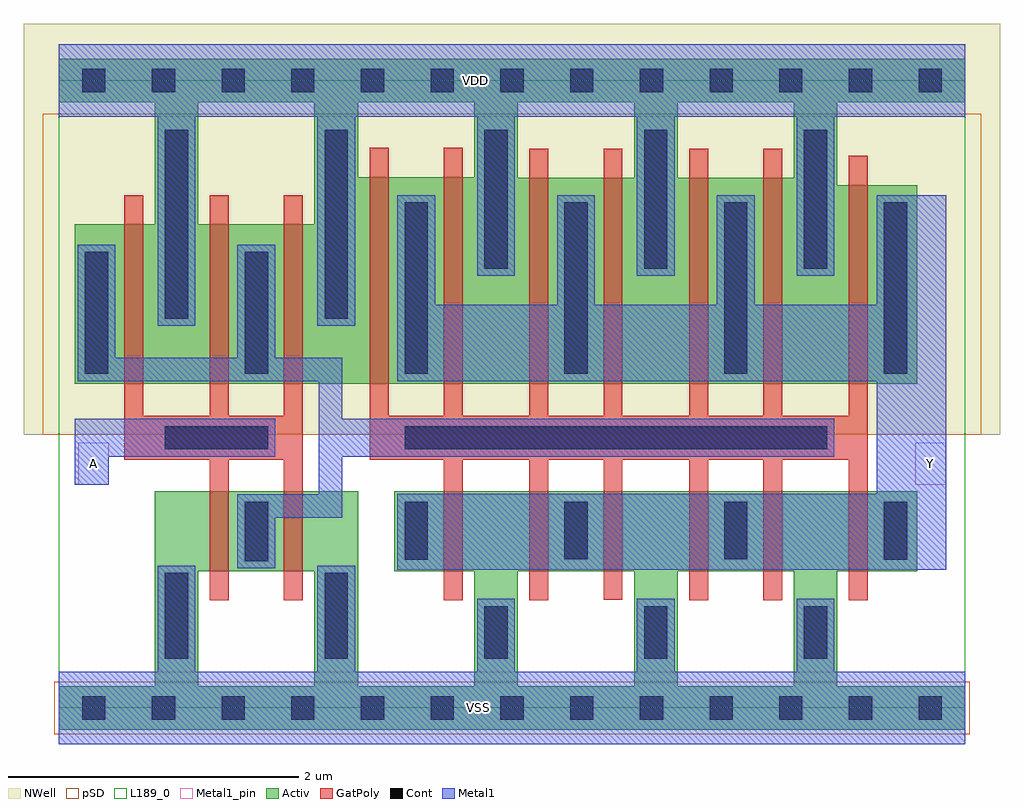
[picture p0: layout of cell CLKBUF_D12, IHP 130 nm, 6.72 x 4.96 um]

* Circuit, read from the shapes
.subckt CLKBUF_D12 A VDD VSS Y
XM1 n1 A VSS VSS sg13_lv_nmos w=0.55u l=0.13u m=2
XM2 VSS n1 Y VSS sg13_lv_nmos w=0.55u l=0.13u m=6
XM3 VDD A n1 VDD sg13_lv_pmos w=1.1u l=0.13u m=3
XM4 Y n1 VDD VDD sg13_lv_pmos w=1.425u l=0.13u m=2
XM5 Y n1 VDD VDD sg13_lv_pmos w=1.42u l=0.13u m=4
XM6 Y n1 VDD VDD sg13_lv_pmos w=1.37u l=0.13u
.ends

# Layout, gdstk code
import gdstk
lib = gdstk.Library(unit=1e-6, precision=1e-09)
def R(c, l, rs):  # rectangles x0, y0, x1, y1
    for r in rs: c.add(gdstk.rectangle(r[:2], r[2:], *l))
def A(c, l, x, y, w, h, nx, ny, dx, dy):  # array of equal rectangles
    R(c, l, [(x+i*dx, y+j*dy, x+i*dx+w, y+j*dy+h) for i in range(nx) for j in range(ny)])
def P(c, l, *ps):  # polygons
    for p in ps: c.add(gdstk.Polygon(p, *l))
Activ = (1, 0)
GatPoly = (5, 0)
Cont = (6, 0)
Metal1 = (8, 0)
Metal1_pin = (8, 2)
pSD = (14, 0)
NWell = (31, 0)
L189_0 = (189, 0)

clkbuf_d12 = lib.new_cell('CLKBUF_D12')
P(clkbuf_d12, Activ, [(0.11,2.23),(0.11,3.33),(0.66,3.33),(0.96,3.33),(1.76,3.33),(1.76,3.65),(3.16,3.65),(3.96,3.65),(4.26,3.65),(5.06,3.65),(5.06,4.17),(4.26,4.17),(4.26,3.65),(3.96,3.65),(3.96,4.17),(3.16,4.17),(3.16,3.65),(1.76,3.65),(1.76,3.655),(2.06,3.655),(2.86,3.655),(2.86,4.17),(2.06,4.17),(2.06,3.655),(1.76,3.655),(1.76,4.17),(0.96,4.17),(0.96,3.33),(0.66,3.33),(0.66,4.17),(0,4.17),(0,4.47),(6.24,4.47),(6.24,4.17),(5.36,4.17),(5.36,3.6),(5.91,3.6),(5.91,2.23)],
  [(0,-0.15),(0,0.15),(0.66,0.15),(0.96,0.15),(1.76,0.15),(1.76,0.94),(0.96,0.94),(0.96,0.15),(0.66,0.15),(0.66,1.49),(2.06,1.49),(2.06,0.15),(2.86,0.15),(3.16,0.15),(3.96,0.15),(4.26,0.15),(5.06,0.15),(5.06,0.94),(4.26,0.94),(4.26,0.15),(3.96,0.15),(3.96,0.94),(3.16,0.94),(3.16,0.15),(2.86,0.15),(2.86,0.94),(2.31,0.94),(2.31,1.49),(5.91,1.49),(5.91,0.94),(5.36,0.94),(5.36,0.15),(6.24,0.15),(6.24,-0.15)])
P(clkbuf_d12, GatPoly, [(2.65,0.74),(2.65,1.71),(2.14,1.71),(2.14,3.855),(2.27,3.855),(2.27,2.01),(2.65,2.01),(2.65,3.855),(2.78,3.855),(2.78,2.01),(3.24,2.01),(3.24,3.85),(3.37,3.85),(3.37,2.01),(3.75,2.01),(3.75,3.85),(3.88,3.85),(3.88,2.01),(4.34,2.01),(4.34,3.85),(4.47,3.85),(4.47,2.01),(4.85,2.01),(4.85,3.85),(4.98,3.85),(4.98,2.01),(5.44,2.01),(5.44,3.8),(5.57,3.8),(5.57,0.74),(5.44,0.74),(5.44,1.71),(4.98,1.71),(4.98,0.74),(4.85,0.74),(4.85,1.71),(4.47,1.71),(4.47,0.74),(4.34,0.74),(4.34,1.71),(3.88,1.71),(3.88,0.745),(3.75,0.745),(3.75,1.71),(3.37,1.71),(3.37,0.74),(3.24,0.74),(3.24,1.71),(2.78,1.71),(2.78,0.74)],
  [(1.04,0.74),(1.04,1.71),(0.45,1.71),(0.45,3.53),(0.58,3.53),(0.58,2.01),(1.04,2.01),(1.04,3.53),(1.17,3.53),(1.17,2.01),(1.55,2.01),(1.55,3.53),(1.68,3.53),(1.68,0.74),(1.55,0.74),(1.55,1.71),(1.17,1.71),(1.17,0.74)])
A(clkbuf_d12, Cont, 0.16, -0.08, 0.16, 0.16, 13, 2, 0.48, 4.32)
A(clkbuf_d12, Cont, 2.93, 0.34, 0.16, 0.36, 3, 1, 1.1, 0)
A(clkbuf_d12, Cont, 2.38, 2.3, 0.16, 1.18, 4, 1, 1.1, 0)
A(clkbuf_d12, Cont, 2.93, 3.025, 0.16, 0.955, 3, 1, 1.1, 0)
R(clkbuf_d12, Cont, [(0.73,0.34,0.89,0.93), (1.83,0.34,1.99,0.93), (1.28,1.01,1.44,1.42), (2.38,1.02,2.54,1.42), (5.68,1.02,5.84,1.42), (3.48,1.025,3.64,1.42), (4.58,1.025,4.74,1.42), (0.73,1.78,1.44,1.94), (2.38,1.78,5.29,1.94), (0.18,2.3,0.34,3.14), (1.28,2.3,1.44,3.14), (0.73,2.68,0.89,3.98), (1.83,2.68,1.99,3.98)])
R(clkbuf_d12, Metal1, [(0.68,2.63,0.94,4.07), (1.78,2.63,2.04,4.07), (2.88,2.975,3.14,4.07), (3.98,2.975,4.24,4.07)])
P(clkbuf_d12, Metal1, [(1.23,0.96),(1.23,1.47),(1.79,1.47),(1.79,2.25),(0.13,2.25),(0.13,3.19),(0.39,3.19),(0.39,2.41),(1.23,2.41),(1.23,3.19),(1.49,3.19),(1.49,2.41),(1.95,2.41),(1.95,1.99),(5.34,1.99),(5.34,1.73),(1.95,1.73),(1.95,1.31),(1.49,1.31),(1.49,0.96)],
  [(0.11,1.535),(0.11,1.99),(1.49,1.99),(1.49,1.73),(0.345,1.73),(0.345,1.535)],
  [(5.08,2.975),(5.08,4.07),(0,4.07),(0,4.57),(6.24,4.57),(6.24,4.07),(5.34,4.07),(5.34,2.975)],
  [(2.33,0.95),(2.33,1.475),(5.63,1.475),(5.63,2.25),(2.33,2.25),(2.33,3.53),(2.59,3.53),(2.59,2.775),(3.43,2.775),(3.43,3.53),(3.69,3.53),(3.69,2.775),(4.53,2.775),(4.53,3.53),(4.79,3.53),(4.79,2.775),(5.63,2.775),(5.63,3.53),(6.11,3.53),(6.11,0.95)],
  [(0,-0.25),(0,0.25),(0.68,0.25),(0.68,0.98),(0.94,0.98),(0.94,0.25),(1.78,0.25),(1.78,0.98),(2.04,0.98),(2.04,0.25),(2.88,0.25),(2.88,0.75),(3.14,0.75),(3.14,0.25),(3.98,0.25),(3.98,0.75),(4.24,0.75),(4.24,0.25),(5.08,0.25),(5.08,0.75),(5.34,0.75),(5.34,0.25),(6.24,0.25),(6.24,-0.25)])
R(clkbuf_d12, Metal1_pin, [(0,-0.25,6.24,0.25), (0.135,1.535,0.345,1.825), (5.895,1.535,6.105,1.825), (0,4.07,6.24,4.57)])
R(clkbuf_d12, pSD, [(-0.03,-0.18,6.27,0.18), (-0.11,1.88,6.35,4.09)])
R(clkbuf_d12, NWell, [(-0.24,1.88,6.48,4.71)])
R(clkbuf_d12, L189_0, [(0,0,6.24,4.32)])
clkbuf_d12.add(gdstk.Label('A', (0.24,1.68), layer=8, texttype=25))
clkbuf_d12.add(gdstk.Label('Y', (6,1.68), layer=8, texttype=25))
clkbuf_d12.add(gdstk.Label('VSS', (2.89,0), layer=8, texttype=25))
clkbuf_d12.add(gdstk.Label('VDD', (2.87,4.32), layer=8, texttype=25))

lib.write_gds('CLKBUF_D12.gds')
